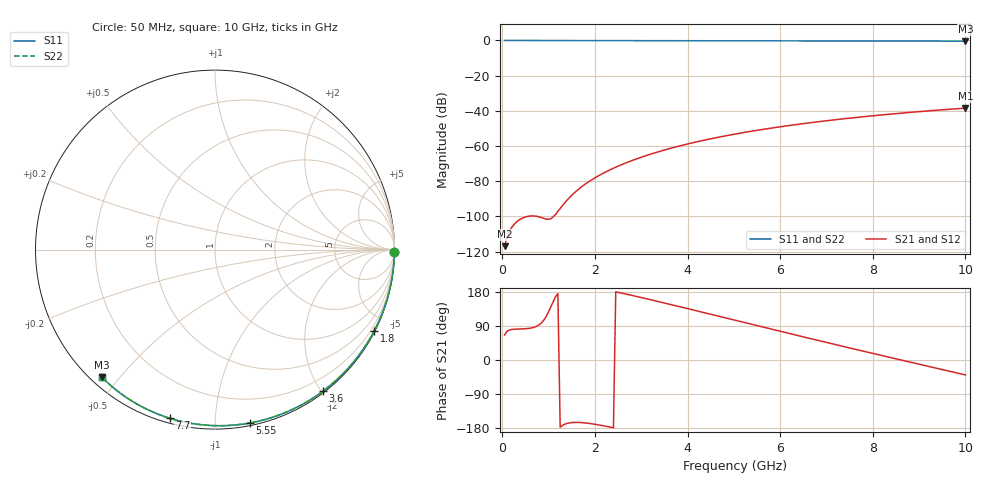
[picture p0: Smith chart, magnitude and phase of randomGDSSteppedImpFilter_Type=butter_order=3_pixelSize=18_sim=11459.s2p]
! freq	dB(S11)	phase(S11)	dB(S12)	phase(S12)
!  dB(S21)	phase(S21)	dB(S22)	phase(S22)
!S-par simulation data
#  GHz  S  DB  R 50
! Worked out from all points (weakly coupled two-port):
!   200 points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, 50 MHz to 10 GHz, reference 50 ohm
!   highest |S21| = -38.47 dB at 10 GHz (marker M1); lowest = -116.9 dB at 50 MHz (marker M2)
!   lowest |S11| = -0.4 dB at 10 GHz (marker M3), VSWR 39.12, Z = 1.54 - j22.5 ohm
!   |S11| at or under -10 dB: nowhere
!   |S22| runs from -0.4 to 0.0 dB; largest |S21 - S12| = 0
!   S11 on the Smith chart (normalised r, x): 50 MHz: open; 1.8 GHz: 0.04, -4.17; 3.6 GHz: 0.02, -2.02; 5.55 GHz: 0.02, -1.22; 7.7 GHz: 0.02, -0.77; 10 GHz: 0.03, -0.45
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0.05  -0.00 -0.8  -116.89 66.0  -116.89 66.0  -0.00 -0.8
0.9  -0.02 -13.6  -101.15 105.9  -101.15 105.9  -0.02 -13.6
1.75  -0.03 -26.2  -82.41 -165.6  -82.41 -165.6  -0.03 -26.2
1.8  -0.03 -26.9  -81.46 -166.2  -81.46 -166.2  -0.03 -27.0
1.85  -0.04 -27.7  -80.56 -166.9  -80.56 -166.9  -0.04 -27.7
1.9  -0.04 -28.4  -79.70 -167.7  -79.70 -167.7  -0.04 -28.4
2.05  -0.04 -30.6  -77.30 -170.6  -77.30 -170.6  -0.04 -30.6
2.25  -0.04 -33.5  -74.48 -175.1  -74.48 -175.1  -0.04 -33.5
2.45  -0.05 -36.4  -72.00 179.9  -72.00 179.9  -0.05 -36.4
2.65  -0.05 -39.3  -69.77 174.6  -69.77 174.6  -0.05 -39.3
3  -0.06 -44.3  -66.36 164.9  -66.36 164.9  -0.06 -44.3
3.4  -0.07 -49.9  -63.02 153.4  -63.02 153.4  -0.07 -49.9
3.6  -0.07 -52.7  -61.52 147.5  -61.52 147.5  -0.07 -52.7
4.3  -0.09 -62.3  -57.01 126.7  -57.01 126.7  -0.09 -62.3
5.05  -0.11 -72.2  -53.08 104.3  -53.08 104.3  -0.11 -72.3
5.55  -0.13 -78.7  -50.84 89.3  -50.84 89.3  -0.13 -78.7
6.1  -0.15 -85.6  -48.67 72.9  -48.67 72.9  -0.15 -85.7
6.7  -0.18 -93.1  -46.58 55.1  -46.58 55.1  -0.18 -93.1
7.7  -0.24 -105.1  -43.59 26.0  -43.59 26.0  -0.24 -105.1
8.35  -0.29 -112.7  -41.92 7.4  -41.92 7.4  -0.29 -112.7
9.15  -0.36 -121.8  -40.11 -15.4  -40.11 -15.4  -0.36 -121.9
10  -0.44 -131.4  -38.47 -39.4  -38.47 -39.4  -0.44 -131.5
